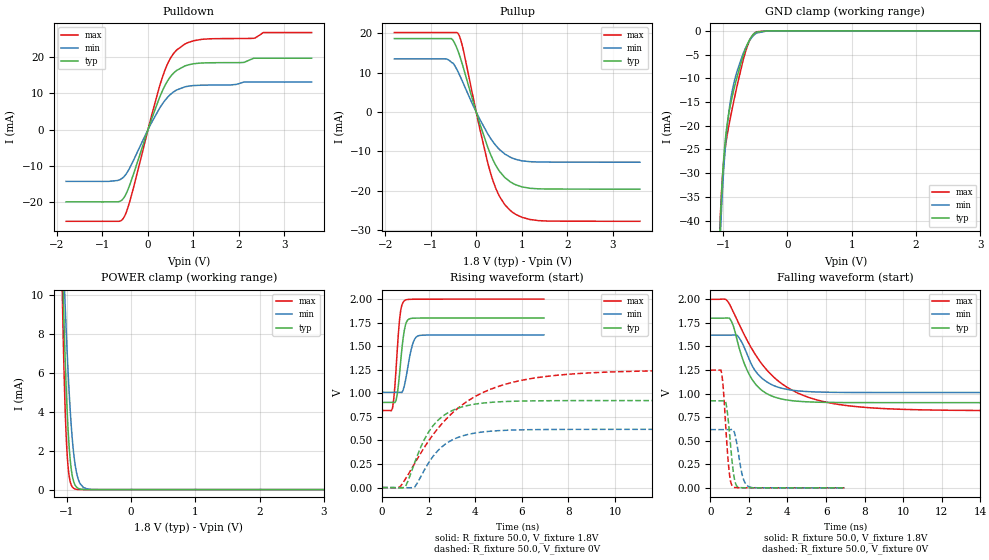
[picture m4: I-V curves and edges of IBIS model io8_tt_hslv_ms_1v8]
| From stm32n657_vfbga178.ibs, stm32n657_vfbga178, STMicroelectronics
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[Model]   io8_tt_hslv_ms_1v8
Model_type I/O
Polarity   Non-Inverting
Enable   Active-Low
| CAP_THRESHOLD on pad IOTT is "UDTCAPC" :
| Rising=30.0% of vddiov33m   Falling=70.0% of vddiov33m
| C_comp min and max val. don't necessarily correlate with the min and max pvt
| but are the smallest and greatest pad capacitance found.
| var   typ   min   max
C_comp   1.26676pF  1.09321pF  1.36432pF
|C_comp_pullup   869.30500fF  531.82000fF  521.19000fF
|C_comp_pulldown   397.45251fF  561.39043fF  843.12518fF
Vinl = 810.0mV
Vinh = 1.0V
Vmeas = 900.0mV   | Reference voltage for timing measurements
Cref  = 50.0pF   | Timing specification test load capacitance value
Rref  = 1.0MOhm   | Timing specification test load resistance value
Vref  = 990.0mV   | Timing specification test load voltage
[Model Spec]
| TIME_THRESHOLD on pin ZIV08M is "CMOS" :
| Rising=50.0% of vddv08m   Falling=50.0% of vddv08m
Vinl 675.70000mV 623.70000mV 735.70000mV
Vinh 1.12730V 1.01130V 1.24930V
| variable   typ   min   max
[Temperature Range] 25.0 125.0 -40.0
| variable   typ   min   max
[Voltage Range] 1.8V 1.62V 2.0V
| variable   typ   min   max
[POWER Clamp Reference] 1.8V 1.62V 2.0V
| variable   typ   min   max
[GND Clamp Reference] 0V 0V 0V
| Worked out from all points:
|   slope of the pulldown table from 0 to 0.27 V, typ, clamps not added: 28.9 ohm
|   slope of the pullup table from 0 to 0.27 V, typ, clamps not added: 28.7 ohm
|   GND clamp passes 1 mA (typ) near -0.55 V on its own axis
|   POWER clamp passes 1 mA (typ) near -0.93 V on its own axis
|   rising waveform, R_fixture 50.0, V_fixture 1.8V: 20-80 % time 226ps typ, 284ps min, 202ps max; typ from 0.904 V to 1.8 V
|   falling waveform, R_fixture 50.0, V_fixture 1.8V: 20-80 % time 1.09ns typ, 1.13ns min, 2.65ns max; typ from 1.8 V to 0.904 V
|   rising waveform, R_fixture 50.0, V_fixture 0V: 20-80 % time 1.23ns typ, 1.25ns min, 2.87ns max; typ from 0 V to 0.924 V
|   falling waveform, R_fixture 50.0, V_fixture 0V: 20-80 % time 264ps typ, 319ps min, 248ps max; typ from 0.924 V to 0 V
[POWER Clamp]
-1.8V     152.1mA    105.6mA    221.1mA
-1.07V    12.07mA    13.62mA    10.38mA
-1.05V    9.569mA    11.75mA    7.249mA
-1.03V    7.339mA    9.993mA    4.743mA
-1.01V    5.42mA     8.357mA    2.898mA
-990mV    3.841mA    6.859mA    1.662mA
-970mV    2.609mA    5.513mA    906.5uA
-940mV    1.358mA    3.806mA    344.1uA
-880mV    308.3uA    1.548mA    45.55uA
-790mV    28.47uA    298.6uA    2.144uA
-610mV    219.5nA    7.365uA    27.8nA
3.6V      0A         0A         0A
[GND Clamp]
-1.8V     -1.222A    -1.193A    -1.238A
-1.05V    -42.33mA   -45.55mA   -41.2mA
-1.04V    -38.89mA   -42.1mA    -37.88mA
-1.03V    -35.83mA   -38.98mA   -35.06mA
-1.01V    -30.7mA    -33.54mA   -30.61mA
-970mV    -23.47mA   -25.17mA   -24.97mA
-920mV    -18.06mA   -18.06mA   -20.63mA
-870mV    -14.51mA   -13.44mA   -17.13mA
-780mV    -9.532mA   -8.354mA   -11.38mA
-650mV    -3.743mA   -3.581mA   -4.327mA
-490mV    -324.1uA   -556uA     -259.6uA
3.6V      67.14nA    3.404uA    33.72nA
| variable   typ   min   max
[Pullup Reference] 1.8V 1.62V 2.0V
| variable   typ   min   max
[Pulldown Reference] 0V 0V 0V
[Pullup]
-1.8V     18.62mA    13.47mA    20.14mA
-670mV    18.62mA    13.46mA    20.14mA
-550mV    18.62mA    12.65mA    20.14mA
-480mV    17.57mA    11.91mA    20.14mA
-390mV    15.13mA    9.968mA    19.73mA
-290mV    11.53mA    7.43mA     16.05mA
70mV      -2.634mA   -1.643mA   -3.782mA
330mV     -11.11mA   -6.899mA   -16mA
520mV     -15.13mA   -9.584mA   -21.53mA
810mV     -18.11mA   -11.75mA   -25.5mA
1.37V     -19.46mA   -12.66mA   -27.52mA
3.6V      -19.55mA   -12.72mA   -27.69mA
[Pulldown]
-1.8V     -19.85mA   -14.22mA   -25.2mA
-680mV    -19.85mA   -13.99mA   -25.2mA
-540mV    -18.89mA   -13.07mA   -24.34mA
-390mV    -14.81mA   -10.24mA   -19.27mA
300mV     10.22mA    6.776mA    13.77mA
460mV     14.01mA    9.309mA    18.88mA
630mV     16.33mA    10.94mA    21.94mA
1.18V     18.38mA    12.27mA    24.89mA
2.1V      18.52mA    13.1mA     25.11mA
2.31V     19.6mA     13.12mA    25.16mA
2.54V     19.69mA    13.12mA    26.75mA
3.6V      19.69mA    13.12mA    26.75mA
[Ramp]
dV/dt_r 554.12598mV/1.22814ns 370.82875mV/1.25117ns 749.30435mV/2.86537ns
dV/dt_f 537.59499mV/1.08996ns 365.35691mV/1.12832ns 709.23786mV/2.65093ns
R_load = 50.0
| Removed startup time: 0s 0s 0s  .
| Removed end time: 6.95ns.
[Rising Waveform]
R_fixture   = 50.0
V_fixture   = 1.8V
V_fixture_min = 1.62V
V_fixture_max = 2.0V
0s        904mV      1.011V     817.9mV
450ps     904mV      1.011V     844.3mV
600ps     922.8mV    1.011V     1.253V
750ps     1.203V     1.011V     1.78V
850ps     1.469V     1.01V      1.936V
950ps     1.661V     1.073V     1.982V
1.1ns     1.777V     1.269V     1.996V
1.3ns     1.797V     1.511V     1.999V
1.55ns    1.799V     1.61V      1.999V
6.95ns    1.8V       1.62V      2V
| Removed startup time: 0s 0s 0s  .
| Removed end time: 399.9ns.
[Falling Waveform]
R_fixture   = 50.0
V_fixture   = 1.8V
V_fixture_min = 1.62V
V_fixture_max = 2.0V
0s        1.8V       1.62V      2V
1ns       1.8V       1.62V      1.947V
1.4ns     1.559V     1.617V     1.777V
2ns       1.21V      1.372V     1.531V
2.5ns     1.066V     1.199V     1.363V
3.2ns     973.2mV    1.093V     1.192V
4.4ns     921.5mV    1.032V     1.019V
6ns       907mV      1.015V     909.4mV
11.6ns    904mV      1.011V     825.3mV
399.9ns   904mV      1.011V     817.9mV
| Removed startup time: 0s 0s 0s  .
| Removed end time: 399.9ns.
[Rising Waveform]
R_fixture   = 50.0
V_fixture   = 0V
V_fixture_min = 0V
V_fixture_max = 0V
0s        196.8nV    2.875uV    288.1nV
700ps     -2.264mV   -4.532uV   -1.554mV
1ns       8.351mV    -1.533mV   89.8mV
1.4ns     264.3mV    4.734mV    256.2mV
2.1ns     626.9mV    300.8mV    530.5mV
3.4ns     853.5mV    544.1mV    870.2mV
4.7ns     905mV      599.1mV    1.048V
6.3ns     919.6mV    614.2mV    1.153V
12.3ns    923.5mV    618mV      1.241V
399.9ns   923.5mV    618.1mV    1.249V
| Removed startup time: 0s 0s 0s  .
| Removed end time: 6.95ns.
[Falling Waveform]
R_fixture   = 50.0
V_fixture   = 0V
V_fixture_min = 0V
V_fixture_max = 0V
0s        923.5mV    618.1mV    1.249V
600ps     923.5mV    618mV      1.205V
700ps     923.8mV    618.1mV    980.6mV
850ps     854.2mV    618.1mV    490.5mV
1ns       571.7mV    617.9mV    133.2mV
1.15ns    241.5mV    620.7mV    17.21mV
1.35ns    26.99mV    498.3mV    2.167mV
1.65ns    1.582mV    140.5mV    862.1uV
2ns       678.2uV    12.95mV    480.5uV
6.95ns    16.65uV    33.24uV    31.33uV
